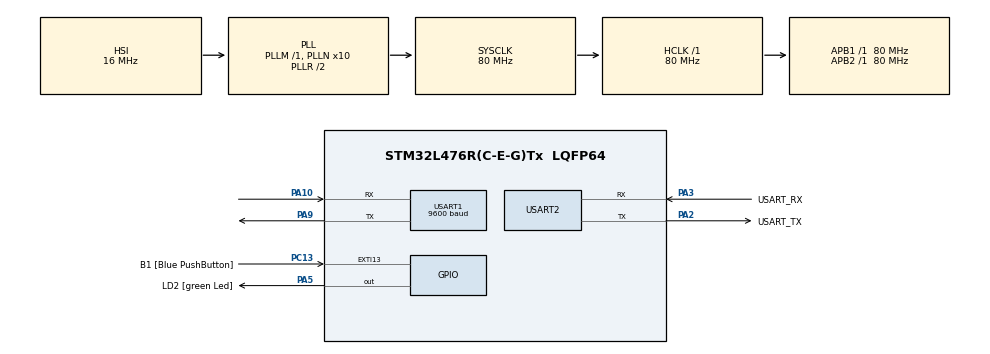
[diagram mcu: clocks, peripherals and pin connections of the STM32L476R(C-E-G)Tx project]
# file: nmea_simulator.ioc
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Mcu.Family=STM32L4
Mcu.Name=STM32L476R(C-E-G)Tx
Mcu.Package=LQFP64
NVIC.EXTI15_10_IRQn=true\:0\:0\:false\:false\:true\:true\:true\:true
NVIC.PriorityGroup=NVIC_PRIORITYGROUP_4
PA10.Mode=Asynchronous
PA10.Signal=USART1_RX
PA13\ (JTMS-SWDIO).GPIO_Label=TMS
PA13\ (JTMS-SWDIO).Mode=Serial_Wire
PA13\ (JTMS-SWDIO).Signal=SYS_JTMS-SWDIO
PA14\ (JTCK-SWCLK).GPIO_Label=TCK
PA14\ (JTCK-SWCLK).Mode=Serial_Wire
PA14\ (JTCK-SWCLK).Signal=SYS_JTCK-SWCLK
PA2.GPIO_Label=USART_TX
PA2.GPIO_Mode=GPIO_MODE_AF_PP
PA2.GPIO_PuPd=GPIO_NOPULL
PA2.GPIO_Speed=GPIO_SPEED_FREQ_VERY_HIGH
PA2.Mode=Asynchronous
PA2.Signal=USART2_TX
PA3.GPIO_Label=USART_RX
PA3.GPIO_Mode=GPIO_MODE_AF_PP
PA3.GPIO_PuPd=GPIO_NOPULL
PA3.GPIO_Speed=GPIO_SPEED_FREQ_VERY_HIGH
PA3.Mode=Asynchronous
PA3.Signal=USART2_RX
PA5.GPIO_Label=LD2 [green Led]
PA5.GPIO_ModeDefaultOutputPP=GPIO_MODE_OUTPUT_PP
PA5.GPIO_PuPd=GPIO_NOPULL
PA5.GPIO_Speed=GPIO_SPEED_FREQ_LOW
PA5.Signal=GPIO_Output
PA9.Mode=Asynchronous
PA9.Signal=USART1_TX
PB3\ (JTDO-TRACESWO).GPIO_Label=SWO
PB3\ (JTDO-TRACESWO).Signal=SYS_JTDO-SWO
PC13.GPIO_Label=B1 [Blue PushButton]
PC13.GPIO_ModeDefaultEXTI=GPIO_MODE_IT_FALLING
PC13.GPIO_PuPd=GPIO_NOPULL
PC13.Signal=GPXTI13
PC14-OSC32_IN\ (PC14).Mode=LSE-External-Oscillator
PC14-OSC32_IN\ (PC14).Signal=RCC_OSC32_IN
PC15-OSC32_OUT\ (PC15).Mode=LSE-External-Oscillator
PC15-OSC32_OUT\ (PC15).Signal=RCC_OSC32_OUT
PH0-OSC_IN\ (PH0).Signal=RCC_OSC_IN
PH1-OSC_OUT\ (PH1).Signal=RCC_OSC_OUT
ProjectManager.HeapSize=0x200
ProjectManager.StackSize=0x400
ProjectManager.TargetToolchain=STM32CubeIDE
RCC.ADCFreq_Value=64000000
RCC.AHBFreq_Value=80000000
RCC.APB1Freq_Value=80000000
RCC.APB1TimFreq_Value=80000000
RCC.APB2Freq_Value=80000000
RCC.APB2TimFreq_Value=80000000
RCC.CortexFreq_Value=80000000
RCC.HCLKFreq_Value=80000000
RCC.HSE_VALUE=8000000
RCC.HSI_VALUE=16000000
RCC.MSI_VALUE=4000000
RCC.PLLN=10
RCC.PLLSourceVirtual=RCC_PLLSOURCE_HSI
RCC.PREFETCH_ENABLE=1
RCC.SYSCLKFreq_VALUE=80000000
RCC.SYSCLKSource=RCC_SYSCLKSOURCE_PLLCLK
RCC.USBFreq_Value=64000000
RCC.VCOOutputFreq_Value=160000000
USART1.BaudRate=9600
USART1.VirtualMode-Asynchronous=VM_ASYNC
USART2.VirtualMode-Asynchronous=VM_ASYNC
board=NUCLEO-L476RG

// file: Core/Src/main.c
/* USER CODE BEGIN Header */
/**
  ******************************************************************************
  * @file           : main.c
  * @brief          : Main program body
  ******************************************************************************
  * @attention
  *
  * Copyright (c) 2023 STMicroelectronics.
  * All rights reserved.
  *
  * This software is licensed under terms that can be found in the LICENSE file
  * in the root directory of this software component.
  * If no LICENSE file comes with this software, it is provided AS-IS.
  *
  ******************************************************************************
  */
/* USER CODE END Header */
#include "main.h"

/* USER CODE BEGIN Includes */
#include "nmea_frames.h"
#include "stdio.h"
#include "string.h"
#include "utils.h"
/* USER CODE END Includes */

UART_HandleTypeDef huart1;
UART_HandleTypeDef huart2;

LOCATION_TYPE location;

void SystemClock_Config(void);
static void MX_GPIO_Init(void);
static void MX_USART2_UART_Init(void);
static void MX_USART1_UART_Init(void);
/* USER CODE BEGIN PFP */

#ifdef __GNUC__
#define PUTCHAR_PROTOTYPE int __io_putchar(int ch)
#else
#define PUTCHAR_PROTOTYPE int fputc(int ch, FILE *f)
#endif

PUTCHAR_PROTOTYPE
{
  HAL_UART_Transmit(&huart2, (uint8_t *)&ch, 1, HAL_MAX_DELAY);
  return ch;
}

/* USER CODE END PFP */

/* USER CODE BEGIN 0 */
const NMEA_FRAME_TYPE nmea_frame_array[LOCATION_SIZE]=
			{{"Chicago",CHICAGO_GGA, CHICAGO_GSA, CHICAGO_RMC},
			{"Kiev",KIEV_GGA, KIEV_GSA, KIEV_RMC},
			{"Barcelone",BARCELONE_GGA, BARCELONE_GSA, BARCELONE_RMC},
			};

/* USER CODE END 0 */

int main(void)
{

  /* MCU Configuration--------------------------------------------------------*/

  /* Reset of all peripherals, Initializes the Flash interface and the Systick. */
  HAL_Init();

  /* Configure the system clock */
  SystemClock_Config();

  /* Initialize all configured peripherals */
  MX_GPIO_Init();
  MX_USART2_UART_Init();
  MX_USART1_UART_Init();
  /* USER CODE BEGIN 2 */
  printf("NMEA Frame emulator. Press button to switch cities\n\r");
  /* USER CODE END 2 */
  printf("Check on CRC. Calculated : %x \t extract : %x\n\r",calculateChecksum(nmea_frame_array[location].GGA),extractChecksum(nmea_frame_array[location].GGA));
  /* Infinite loop */
  while (1)
  {
	  	  HAL_GPIO_WritePin(GPIOA,GPIO_PIN_5,1);
	  	  HAL_UART_Transmit(&huart1, (uint8_t *)nmea_frame_array[location].GGA,
	  			  strlen(nmea_frame_array[location].GGA), HAL_MAX_DELAY);
	  	  HAL_UART_Transmit(&huart1, (uint8_t *)nmea_frame_array[location].GSA,
	  			  strlen(nmea_frame_array[location].GSA), HAL_MAX_DELAY);
	  	  HAL_UART_Transmit(&huart1, (uint8_t *)nmea_frame_array[location].RMC,
	  			  strlen(nmea_frame_array[location].RMC), HAL_MAX_DELAY);
	  //    HAL_Delay(100);
	      HAL_GPIO_WritePin(GPIOA,GPIO_PIN_5,0);
	      HAL_Delay(400);
  }
}

void SystemClock_Config(void)
{
  RCC_OscInitTypeDef RCC_OscInitStruct = {0};
  RCC_ClkInitTypeDef RCC_ClkInitStruct = {0};

  /** Configure the main internal regulator output voltage
  */
  if (HAL_PWREx_ControlVoltageScaling(PWR_REGULATOR_VOLTAGE_SCALE1) != HAL_OK)
  {
    Error_Handler();
  }

  /** Initializes the RCC Oscillators according to the specified parameters
  * in the RCC_OscInitTypeDef structure.
  */
  RCC_OscInitStruct.OscillatorType = RCC_OSCILLATORTYPE_HSI;
  RCC_OscInitStruct.HSIState = RCC_HSI_ON;
  RCC_OscInitStruct.HSICalibrationValue = RCC_HSICALIBRATION_DEFAULT;
  RCC_OscInitStruct.PLL.PLLState = RCC_PLL_ON;
  RCC_OscInitStruct.PLL.PLLSource = RCC_PLLSOURCE_HSI;
  RCC_OscInitStruct.PLL.PLLM = 1;
  RCC_OscInitStruct.PLL.PLLN = 10;
  RCC_OscInitStruct.PLL.PLLP = RCC_PLLP_DIV7;
  RCC_OscInitStruct.PLL.PLLQ = RCC_PLLQ_DIV2;
  RCC_OscInitStruct.PLL.PLLR = RCC_PLLR_DIV2;
  if (HAL_RCC_OscConfig(&RCC_OscInitStruct) != HAL_OK)
  {
    Error_Handler();
  }

  /** Initializes the CPU, AHB and APB buses clocks
  */
  RCC_ClkInitStruct.ClockType = RCC_CLOCKTYPE_HCLK|RCC_CLOCKTYPE_SYSCLK
                              |RCC_CLOCKTYPE_PCLK1|RCC_CLOCKTYPE_PCLK2;
  RCC_ClkInitStruct.SYSCLKSource = RCC_SYSCLKSOURCE_PLLCLK;
  RCC_ClkInitStruct.AHBCLKDivider = RCC_SYSCLK_DIV1;
  RCC_ClkInitStruct.APB1CLKDivider = RCC_HCLK_DIV1;
  RCC_ClkInitStruct.APB2CLKDivider = RCC_HCLK_DIV1;

  if (HAL_RCC_ClockConfig(&RCC_ClkInitStruct, FLASH_LATENCY_4) != HAL_OK)
  {
    Error_Handler();
  }
}

static void MX_USART1_UART_Init(void)
{

  huart1.Instance = USART1;
  huart1.Init.BaudRate = 9600;
  huart1.Init.WordLength = UART_WORDLENGTH_8B;
  huart1.Init.StopBits = UART_STOPBITS_1;
  huart1.Init.Parity = UART_PARITY_NONE;
  huart1.Init.Mode = UART_MODE_TX_RX;
  huart1.Init.HwFlowCtl = UART_HWCONTROL_NONE;
  huart1.Init.OverSampling = UART_OVERSAMPLING_16;
  huart1.Init.OneBitSampling = UART_ONE_BIT_SAMPLE_DISABLE;
  huart1.AdvancedInit.AdvFeatureInit = UART_ADVFEATURE_NO_INIT;
  if (HAL_UART_Init(&huart1) != HAL_OK)
  {
    Error_Handler();
  }

}

static void MX_USART2_UART_Init(void)
{

  huart2.Instance = USART2;
  huart2.Init.BaudRate = 115200;
  huart2.Init.WordLength = UART_WORDLENGTH_8B;
  huart2.Init.StopBits = UART_STOPBITS_1;
  huart2.Init.Parity = UART_PARITY_NONE;
  huart2.Init.Mode = UART_MODE_TX_RX;
  huart2.Init.HwFlowCtl = UART_HWCONTROL_NONE;
  huart2.Init.OverSampling = UART_OVERSAMPLING_16;
  huart2.Init.OneBitSampling = UART_ONE_BIT_SAMPLE_DISABLE;
  huart2.AdvancedInit.AdvFeatureInit = UART_ADVFEATURE_NO_INIT;
  if (HAL_UART_Init(&huart2) != HAL_OK)
  {
    Error_Handler();
  }

}

static void MX_GPIO_Init(void)
{
  GPIO_InitTypeDef GPIO_InitStruct = {0};

  /* GPIO Ports Clock Enable */
  __HAL_RCC_GPIOC_CLK_ENABLE();
  __HAL_RCC_GPIOH_CLK_ENABLE();
  __HAL_RCC_GPIOA_CLK_ENABLE();
  __HAL_RCC_GPIOB_CLK_ENABLE();

  /*Configure GPIO pin Output Level */
  HAL_GPIO_WritePin(LD2_GPIO_Port, LD2_Pin, GPIO_PIN_RESET);

  /*Configure GPIO pin : B1_Pin */
  GPIO_InitStruct.Pin = B1_Pin;
  GPIO_InitStruct.Mode = GPIO_MODE_IT_FALLING;
  GPIO_InitStruct.Pull = GPIO_NOPULL;
  HAL_GPIO_Init(B1_GPIO_Port, &GPIO_InitStruct);

  /*Configure GPIO pin : LD2_Pin */
  GPIO_InitStruct.Pin = LD2_Pin;
  GPIO_InitStruct.Mode = GPIO_MODE_OUTPUT_PP;
  GPIO_InitStruct.Pull = GPIO_NOPULL;
  GPIO_InitStruct.Speed = GPIO_SPEED_FREQ_LOW;
  HAL_GPIO_Init(LD2_GPIO_Port, &GPIO_InitStruct);

  /* EXTI interrupt init*/
  HAL_NVIC_SetPriority(EXTI15_10_IRQn, 0, 0);
  HAL_NVIC_EnableIRQ(EXTI15_10_IRQn);

}

void Error_Handler(void)
{
  __disable_irq();
  while (1)
  {
  }
}
